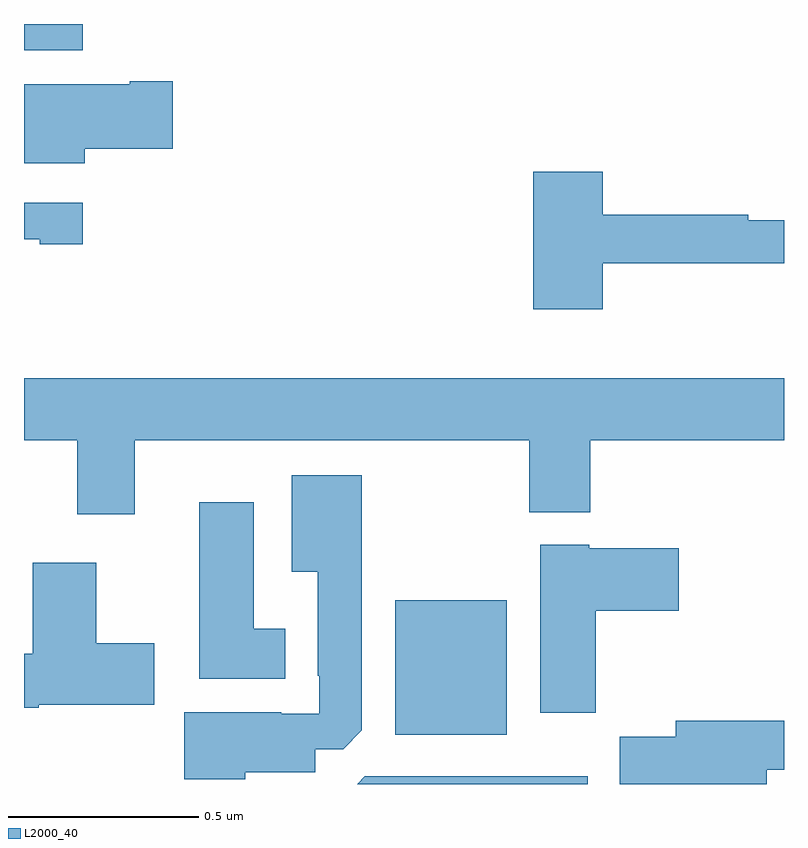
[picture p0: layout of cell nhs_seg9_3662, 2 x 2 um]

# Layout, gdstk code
import gdstk
lib = gdstk.Library(unit=1e-6, precision=1e-09)
def R(c, l, rs):  # rectangles x0, y0, x1, y1
    for r in rs: c.add(gdstk.rectangle(r[:2], r[2:], *l))
def P(c, l, *ps):  # polygons
    for p in ps: c.add(gdstk.Polygon(p, *l))
L2000_40 = (2000, 40)

nhs_seg9_3662 = lib.new_cell('nhs_seg9_3662')
R(nhs_seg9_3662, L2000_40, [(156.977,1211.63,157.27,1211.983), (156,1213.431,156.154,1213.5)])
P(nhs_seg9_3662, L2000_40, [(156.16,1213.172),(156.391,1213.172),(156.391,1213.35),(156.278,1213.35),(156.278,1213.342),(156,1213.342),(156,1213.133),(156.16,1213.133)],
  [(157.523,1212.87),(158,1212.87),(158,1212.983),(157.906,1212.983),(157.906,1212.998),(157.523,1212.998),(157.523,1213.111),(157.34,1213.111),(157.34,1212.75),(157.523,1212.75)],
  [(156.154,1213.029),(156,1213.029),(156,1212.933),(156.041,1212.933),(156.041,1212.921),(156.154,1212.921)],
  [(156.292,1212.404),(157.33,1212.404),(157.33,1212.215),(157.49,1212.215),(157.49,1212.404),(158,1212.404),(158,1212.568),(156,1212.568),(156,1212.404),(156.14,1212.404),(156.14,1212.21),(156.292,1212.21)],
  [(156.582,1211.531),(156.766,1211.531),(156.766,1211.592),(156.84,1211.592),(156.889,1211.641),(156.889,1212.313),(156.704,1212.313),(156.704,1212.059),(156.773,1212.059),(156.773,1211.785),(156.777,1211.785),(156.777,1211.685),(156.677,1211.685),(156.677,1211.689),(156.422,1211.689),(156.422,1211.513),(156.582,1211.513)],
  [(156.688,1211.908),(156.604,1211.908),(156.604,1212.241),(156.461,1212.241),(156.461,1211.777),(156.688,1211.777)],
  [(157.505,1211.956),(157.723,1211.956),(157.723,1212.121),(157.488,1212.121),(157.488,1212.13),(157.358,1212.13),(157.358,1211.688),(157.505,1211.688)],
  [(156.039,1211.708),(156.343,1211.708),(156.343,1211.871),(156.19,1211.871),(156.19,1212.082),(156.023,1212.082),(156.023,1211.843),(156,1211.843),(156,1211.701),(156.039,1211.701)],
  [(157.954,1211.538),(158,1211.538),(158,1211.666),(157.715,1211.666),(157.715,1211.625),(157.568,1211.625),(157.568,1211.5),(157.954,1211.5)],
  [(157.483,1211.52),(156.897,1211.52),(156.877,1211.5),(157.483,1211.5)])

lib.write_gds('nhs_seg9_3662.gds')
